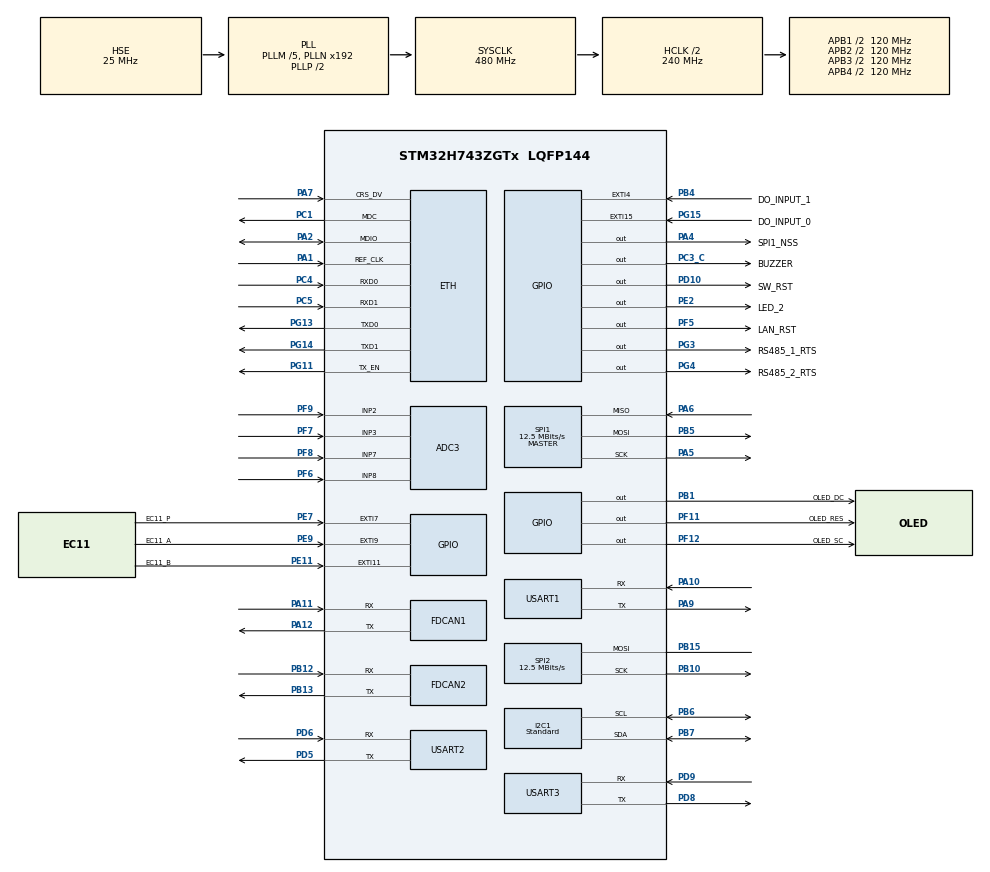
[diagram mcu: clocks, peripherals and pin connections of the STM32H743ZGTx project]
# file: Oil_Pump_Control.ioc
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ADC3.Channel-0\#ChannelRegularConversion=ADC_CHANNEL_8
ADC3.Channel-1\#ChannelRegularConversion=ADC_CHANNEL_3
ADC3.Channel-2\#ChannelRegularConversion=ADC_CHANNEL_7
ADC3.Channel-3\#ChannelRegularConversion=ADC_CHANNEL_2
ADC3.ClockPrescaler=ADC_CLOCK_ASYNC_DIV2
ADC3.ContinuousConvMode=ENABLE
ADC3.ConversionDataManagement=ADC_CONVERSIONDATA_DMA_CIRCULAR
ADC3.NbrOfConversion=4
ADC3.NbrOfConversionFlag=1
ADC3.OffsetNumber-0\#ChannelRegularConversion=ADC_OFFSET_NONE
ADC3.OffsetNumber-1\#ChannelRegularConversion=ADC_OFFSET_NONE
ADC3.OffsetNumber-2\#ChannelRegularConversion=ADC_OFFSET_NONE
ADC3.OffsetNumber-3\#ChannelRegularConversion=ADC_OFFSET_NONE
ADC3.OffsetSignedSaturation-0\#ChannelRegularConversion=DISABLE
ADC3.OffsetSignedSaturation-1\#ChannelRegularConversion=DISABLE
ADC3.OffsetSignedSaturation-2\#ChannelRegularConversion=DISABLE
ADC3.OffsetSignedSaturation-3\#ChannelRegularConversion=DISABLE
ADC3.Rank-0\#ChannelRegularConversion=1
ADC3.Rank-1\#ChannelRegularConversion=2
ADC3.Rank-2\#ChannelRegularConversion=3
ADC3.Rank-3\#ChannelRegularConversion=4
ADC3.SamplingTime-0\#ChannelRegularConversion=ADC_SAMPLETIME_32CYCLES_5
ADC3.SamplingTime-1\#ChannelRegularConversion=ADC_SAMPLETIME_32CYCLES_5
ADC3.SamplingTime-2\#ChannelRegularConversion=ADC_SAMPLETIME_32CYCLES_5
ADC3.SamplingTime-3\#ChannelRegularConversion=ADC_SAMPLETIME_32CYCLES_5
Bdma.ADC3.0.Direction=DMA_PERIPH_TO_MEMORY
Bdma.ADC3.0.EventEnable=DISABLE
Bdma.ADC3.0.Instance=BDMA_Channel0
Bdma.ADC3.0.MemDataAlignment=DMA_MDATAALIGN_HALFWORD
Bdma.ADC3.0.MemInc=DMA_MINC_ENABLE
Bdma.ADC3.0.Mode=DMA_CIRCULAR
Bdma.ADC3.0.PeriphDataAlignment=DMA_PDATAALIGN_HALFWORD
Bdma.ADC3.0.PeriphInc=DMA_PINC_DISABLE
Bdma.ADC3.0.Polarity=HAL_DMAMUX_REQ_GEN_RISING
Bdma.ADC3.0.Priority=DMA_PRIORITY_LOW
Bdma.ADC3.0.RequestNumber=1
Bdma.ADC3.0.SignalID=NONE
Bdma.ADC3.0.SyncEnable=DISABLE
Bdma.ADC3.0.SyncPolarity=HAL_DMAMUX_SYNC_NO_EVENT
Bdma.ADC3.0.SyncRequestNumber=1
Bdma.ADC3.0.SyncSignalID=NONE
Bdma.Request0=ADC3
Bdma.RequestsNb=1
CORTEX_M7.AccessPermission_S-Cortex_Memory_Protection_Unit_Region1_Settings_S=MPU_REGION_FULL_ACCESS
CORTEX_M7.AccessPermission_S-Cortex_Memory_Protection_Unit_Region2_Settings_S=MPU_REGION_FULL_ACCESS
CORTEX_M7.AccessPermission_S-Cortex_Memory_Protection_Unit_Region3_Settings_S=MPU_REGION_FULL_ACCESS
CORTEX_M7.AccessPermission_S-Cortex_Memory_Protection_Unit_Region4_Settings_S=MPU_REGION_FULL_ACCESS
CORTEX_M7.AccessPermission_Spec=MPU_REGION_FULL_ACCESS
CORTEX_M7.BaseAddress_S-Cortex_Memory_Protection_Unit_Region1_Settings_S=0x30000000
CORTEX_M7.BaseAddress_S-Cortex_Memory_Protection_Unit_Region2_Settings_S=0x30004000
CORTEX_M7.BaseAddress_S-Cortex_Memory_Protection_Unit_Region3_Settings_S=0x38800000
CORTEX_M7.BaseAddress_S-Cortex_Memory_Protection_Unit_Region4_Settings_S=0x38000000
CORTEX_M7.BaseAddress_Spec=0x24000000
CORTEX_M7.CPU_DCache=Enabled
CORTEX_M7.CPU_ICache=Enabled
CORTEX_M7.DisableExec_S-Cortex_Memory_Protection_Unit_Region1_Settings_S=MPU_INSTRUCTION_ACCESS_DISABLE
CORTEX_M7.DisableExec_S-Cortex_Memory_Protection_Unit_Region2_Settings_S=MPU_INSTRUCTION_ACCESS_ENABLE
CORTEX_M7.DisableExec_Spec=MPU_INSTRUCTION_ACCESS_ENABLE
CORTEX_M7.Enable_S-Cortex_Memory_Protection_Unit_Region1_Settings_S=MPU_REGION_ENABLE
CORTEX_M7.Enable_S-Cortex_Memory_Protection_Unit_Region2_Settings_S=MPU_REGION_ENABLE
CORTEX_M7.Enable_S-Cortex_Memory_Protection_Unit_Region3_Settings_S=MPU_REGION_ENABLE
CORTEX_M7.Enable_S-Cortex_Memory_Protection_Unit_Region4_Settings_S=MPU_REGION_ENABLE
CORTEX_M7.Enable_S-Cortex_Memory_Protection_Unit_Region5_Settings_S=__NULL
CORTEX_M7.IsBufferable_S-Cortex_Memory_Protection_Unit_Region1_Settings_S=MPU_ACCESS_BUFFERABLE
CORTEX_M7.IsBufferable_S-Cortex_Memory_Protection_Unit_Region2_Settings_S=MPU_ACCESS_NOT_BUFFERABLE
CORTEX_M7.IsBufferable_S-Cortex_Memory_Protection_Unit_Region4_Settings_S=MPU_ACCESS_NOT_BUFFERABLE
CORTEX_M7.IsBufferable_Spec=MPU_ACCESS_NOT_BUFFERABLE
CORTEX_M7.IsCacheable_S-Cortex_Memory_Protection_Unit_Region2_Settings_S=MPU_ACCESS_CACHEABLE
CORTEX_M7.IsCacheable_S-Cortex_Memory_Protection_Unit_Region4_Settings_S=MPU_ACCESS_CACHEABLE
CORTEX_M7.IsCacheable_Spec=MPU_ACCESS_CACHEABLE
CORTEX_M7.IsShareable_S-Cortex_Memory_Protection_Unit_Region1_Settings_S=MPU_ACCESS_SHAREABLE
CORTEX_M7.IsShareable_S-Cortex_Memory_Protection_Unit_Region2_Settings_S=MPU_ACCESS_NOT_SHAREABLE
CORTEX_M7.IsShareable_S-Cortex_Memory_Protection_Unit_Region4_Settings_S=MPU_ACCESS_SHAREABLE
CORTEX_M7.IsShareable_Spec=MPU_ACCESS_NOT_SHAREABLE
CORTEX_M7.Size_S-Cortex_Memory_Protection_Unit_Region1_Settings_S=MPU_REGION_SIZE_256B
CORTEX_M7.Size_S-Cortex_Memory_Protection_Unit_Region2_Settings_S=MPU_REGION_SIZE_64KB
CORTEX_M7.Size_S-Cortex_Memory_Protection_Unit_Region3_Settings_S=MPU_REGION_SIZE_4KB
CORTEX_M7.Size_S-Cortex_Memory_Protection_Unit_Region4_Settings_S=MPU_REGION_SIZE_64KB
CORTEX_M7.Size_Spec=MPU_REGION_SIZE_512KB
CORTEX_M7.SubRegionDisable_Spec=0x00
CORTEX_M7.TypeExtField_S-Cortex_Memory_Protection_Unit_Region2_Settings_S=MPU_TEX_LEVEL1
CORTEX_M7.default_mode_Activation=1
Dma.I2C1_TX.0.Direction=DMA_MEMORY_TO_PERIPH
Dma.I2C1_TX.0.EventEnable=DISABLE
Dma.I2C1_TX.0.FIFOMode=DMA_FIFOMODE_DISABLE
Dma.I2C1_TX.0.Instance=DMA1_Stream3
Dma.I2C1_TX.0.MemDataAlignment=DMA_MDATAALIGN_BYTE
Dma.I2C1_TX.0.MemInc=DMA_MINC_ENABLE
Dma.I2C1_TX.0.Mode=DMA_NORMAL
Dma.I2C1_TX.0.PeriphDataAlignment=DMA_PDATAALIGN_BYTE
Dma.I2C1_TX.0.PeriphInc=DMA_PINC_DISABLE
Dma.I2C1_TX.0.Polarity=HAL_DMAMUX_REQ_GEN_RISING
Dma.I2C1_TX.0.Priority=DMA_PRIORITY_LOW
Dma.I2C1_TX.0.RequestNumber=1
Dma.I2C1_TX.0.SignalID=NONE
Dma.I2C1_TX.0.SyncEnable=DISABLE
Dma.I2C1_TX.0.SyncPolarity=HAL_DMAMUX_SYNC_NO_EVENT
Dma.I2C1_TX.0.SyncRequestNumber=1
Dma.I2C1_TX.0.SyncSignalID=NONE
Dma.Request0=I2C1_TX
Dma.Request1=USART2_RX
Dma.Request2=USART2_TX
Dma.Request3=USART1_RX
Dma.Request4=USART1_TX
Dma.Request5=USART3_RX
Dma.Request6=USART3_TX
Dma.USART1_RX.3.Direction=DMA_PERIPH_TO_MEMORY
Dma.USART1_RX.3.EventEnable=DISABLE
Dma.USART1_RX.3.FIFOMode=DMA_FIFOMODE_DISABLE
Dma.USART1_RX.3.Instance=DMA1_Stream0
Dma.USART1_RX.3.MemDataAlignment=DMA_MDATAALIGN_BYTE
Dma.USART1_RX.3.MemInc=DMA_MINC_ENABLE
Dma.USART1_RX.3.Mode=DMA_NORMAL
Dma.USART1_RX.3.PeriphDataAlignment=DMA_PDATAALIGN_BYTE
Dma.USART1_RX.3.PeriphInc=DMA_PINC_DISABLE
Dma.USART1_RX.3.Polarity=HAL_DMAMUX_REQ_GEN_RISING
Dma.USART1_RX.3.Priority=DMA_PRIORITY_HIGH
Dma.USART1_RX.3.RequestNumber=1
Dma.USART1_RX.3.SignalID=NONE
Dma.USART1_RX.3.SyncEnable=DISABLE
Dma.USART1_RX.3.SyncPolarity=HAL_DMAMUX_SYNC_NO_EVENT
Dma.USART1_RX.3.SyncRequestNumber=1
Dma.USART1_RX.3.SyncSignalID=NONE
Dma.USART1_TX.4.Direction=DMA_MEMORY_TO_PERIPH
Dma.USART1_TX.4.EventEnable=DISABLE
Dma.USART1_TX.4.FIFOMode=DMA_FIFOMODE_DISABLE
Dma.USART1_TX.4.Instance=DMA1_Stream1
Dma.USART1_TX.4.MemDataAlignment=DMA_MDATAALIGN_BYTE
Dma.USART1_TX.4.MemInc=DMA_MINC_ENABLE
Dma.USART1_TX.4.Mode=DMA_NORMAL
Dma.USART1_TX.4.PeriphDataAlignment=DMA_PDATAALIGN_BYTE
Dma.USART1_TX.4.PeriphInc=DMA_PINC_DISABLE
Dma.USART1_TX.4.Polarity=HAL_DMAMUX_REQ_GEN_RISING
Dma.USART1_TX.4.Priority=DMA_PRIORITY_HIGH
Dma.USART1_TX.4.RequestNumber=1
Dma.USART1_TX.4.SignalID=NONE
Dma.USART1_TX.4.SyncEnable=DISABLE
Dma.USART1_TX.4.SyncPolarity=HAL_DMAMUX_SYNC_NO_EVENT
Dma.USART1_TX.4.SyncRequestNumber=1
Dma.USART1_TX.4.SyncSignalID=NONE
Dma.USART2_RX.1.Direction=DMA_PERIPH_TO_MEMORY
Dma.USART2_RX.1.EventEnable=DISABLE
Dma.USART2_RX.1.FIFOMode=DMA_FIFOMODE_DISABLE
Dma.USART2_RX.1.Instance=DMA1_Stream4
Dma.USART2_RX.1.MemDataAlignment=DMA_MDATAALIGN_BYTE
Dma.USART2_RX.1.MemInc=DMA_MINC_ENABLE
Dma.USART2_RX.1.Mode=DMA_NORMAL
Dma.USART2_RX.1.PeriphDataAlignment=DMA_PDATAALIGN_BYTE
Dma.USART2_RX.1.PeriphInc=DMA_PINC_DISABLE
Dma.USART2_RX.1.Polarity=HAL_DMAMUX_REQ_GEN_RISING
Dma.USART2_RX.1.Priority=DMA_PRIORITY_LOW
Dma.USART2_RX.1.RequestNumber=1
Dma.USART2_RX.1.SignalID=NONE
Dma.USART2_RX.1.SyncEnable=DISABLE
Dma.USART2_RX.1.SyncPolarity=HAL_DMAMUX_SYNC_NO_EVENT
Dma.USART2_RX.1.SyncRequestNumber=1
Dma.USART2_RX.1.SyncSignalID=NONE
Dma.USART2_TX.2.Direction=DMA_MEMORY_TO_PERIPH
Dma.USART2_TX.2.EventEnable=DISABLE
Dma.USART2_TX.2.FIFOMode=DMA_FIFOMODE_DISABLE
Dma.USART2_TX.2.Instance=DMA1_Stream5
Dma.USART2_TX.2.MemDataAlignment=DMA_MDATAALIGN_BYTE
Dma.USART2_TX.2.MemInc=DMA_MINC_ENABLE
Dma.USART2_TX.2.Mode=DMA_NORMAL
Dma.USART2_TX.2.PeriphDataAlignment=DMA_PDATAALIGN_BYTE
Dma.USART2_TX.2.PeriphInc=DMA_PINC_DISABLE
Dma.USART2_TX.2.Polarity=HAL_DMAMUX_REQ_GEN_RISING
Dma.USART2_TX.2.Priority=DMA_PRIORITY_LOW
Dma.USART2_TX.2.RequestNumber=1
Dma.USART2_TX.2.SignalID=NONE
Dma.USART2_TX.2.SyncEnable=DISABLE
Dma.USART2_TX.2.SyncPolarity=HAL_DMAMUX_SYNC_NO_EVENT
Dma.USART2_TX.2.SyncRequestNumber=1
Dma.USART2_TX.2.SyncSignalID=NONE
Dma.USART3_RX.5.Direction=DMA_PERIPH_TO_MEMORY
Dma.USART3_RX.5.EventEnable=DISABLE
Dma.USART3_RX.5.FIFOMode=DMA_FIFOMODE_DISABLE
Dma.USART3_RX.5.Instance=DMA1_Stream2
Dma.USART3_RX.5.MemDataAlignment=DMA_MDATAALIGN_BYTE
Dma.USART3_RX.5.MemInc=DMA_MINC_ENABLE
Dma.USART3_RX.5.Mode=DMA_NORMAL
Dma.USART3_RX.5.PeriphDataAlignment=DMA_PDATAALIGN_BYTE
Dma.USART3_RX.5.PeriphInc=DMA_PINC_DISABLE
Dma.USART3_RX.5.Polarity=HAL_DMAMUX_REQ_GEN_RISING
Dma.USART3_RX.5.Priority=DMA_PRIORITY_LOW
Dma.USART3_RX.5.RequestNumber=1
Dma.USART3_RX.5.SignalID=NONE
Dma.USART3_RX.5.SyncEnable=DISABLE
Dma.USART3_RX.5.SyncPolarity=HAL_DMAMUX_SYNC_NO_EVENT
Dma.USART3_RX.5.SyncRequestNumber=1
Dma.USART3_RX.5.SyncSignalID=NONE
Dma.USART3_TX.6.Direction=DMA_MEMORY_TO_PERIPH
Dma.USART3_TX.6.EventEnable=DISABLE
Dma.USART3_TX.6.FIFOMode=DMA_FIFOMODE_DISABLE
Dma.USART3_TX.6.Instance=DMA1_Stream6
Dma.USART3_TX.6.MemDataAlignment=DMA_MDATAALIGN_BYTE
Dma.USART3_TX.6.MemInc=DMA_MINC_ENABLE
Dma.USART3_TX.6.Mode=DMA_NORMAL
Dma.USART3_TX.6.PeriphDataAlignment=DMA_PDATAALIGN_BYTE
Dma.USART3_TX.6.PeriphInc=DMA_PINC_DISABLE
Dma.USART3_TX.6.Polarity=HAL_DMAMUX_REQ_GEN_RISING
Dma.USART3_TX.6.Priority=DMA_PRIORITY_LOW
Dma.USART3_TX.6.RequestNumber=1
Dma.USART3_TX.6.SignalID=NONE
Dma.USART3_TX.6.SyncEnable=DISABLE
Dma.USART3_TX.6.SyncPolarity=HAL_DMAMUX_SYNC_NO_EVENT
Dma.USART3_TX.6.SyncRequestNumber=1
Dma.USART3_TX.6.SyncSignalID=NONE
ETH.ETH_RX_DESC_CNT=4
ETH.ETH_TX_DESC_CNT=4
ETH.MediaInterface=HAL_ETH_RMII_MODE
ETH.RxBuffLen=1536
ETH.RxBufferAddress=0x30000200
ETH.RxDescAddress=0x30000000
ETH.TxDescAddress=0x30000100
FDCAN1.CalculateBaudRateNominal=500000
FDCAN1.CalculateTimeBitNominal=2000
FDCAN1.CalculateTimeQuantumNominal=50.0
FDCAN1.DataPrescaler=5
FDCAN1.DataTimeSeg1=31
FDCAN1.DataTimeSeg2=8
FDCAN1.NominalPrescaler=5
FDCAN1.NominalTimeSeg1=31
FDCAN1.NominalTimeSeg2=8
FDCAN1.RxFifo0ElmtsNbr=32
FDCAN1.StdFiltersNbr=1
FDCAN1.TxFifoQueueElmtsNbr=16
FDCAN2.CalculateBaudRateNominal=500000
FDCAN2.CalculateTimeBitNominal=2000
FDCAN2.CalculateTimeQuantumNominal=50.0
FDCAN2.DataPrescaler=5
FDCAN2.DataTimeSeg1=31
FDCAN2.DataTimeSeg2=8
FDCAN2.MessageRAMOffset=0x406
FDCAN2.NominalPrescaler=5
FDCAN2.NominalTimeSeg1=31
FDCAN2.NominalTimeSeg2=8
FDCAN2.RxFifo1ElmtsNbr=32
FDCAN2.StdFiltersNbr=1
FDCAN2.TxFifoQueueElmtsNbr=32
FREERTOS.HEAP_NUMBER=4
FREERTOS.Tasks01=defaultTask,24,4096,StartDefaultTask,Default,NULL,Dynamic,NULL,NULL
FREERTOS.configENABLE_FPU=1
FREERTOS.configMINIMAL_STACK_SIZE=1024
FREERTOS.configTIMER_QUEUE_LENGTH=20
FREERTOS.configTIMER_TASK_PRIORITY=24
FREERTOS.configTIMER_TASK_STACK_DEPTH=20480
FREERTOS.configTOTAL_HEAP_SIZE=200*1024
FREERTOS.configUSE_NEWLIB_REENTRANT=1
FREERTOS.configUSE_TICKLESS_IDLE=1
I2C1.CustomTiming=Disabled
I2C1.I2C_Coeff_DF=10
I2C1.I2C_Fall_Time=20
I2C1.I2C_Rise_Time=20
I2C1.I2C_Speed_Mode=I2C_Standard
I2C1.Timing=0x10D0E0FF
IWDG1.Prescaler=IWDG_PRESCALER_4
LWIP.BSP.number=1
LWIP.DEFAULT_THREAD_PRIO=28
LWIP.ETH_RX_BUFFER_CNT=128
LWIP.IP_ADDRESS=000.000.000.000
LWIP.LWIP_ALLOW_MEM_FREE_FROM_OTHER_CONTEXT=1
LWIP.LWIP_DHCP=0
LWIP.LWIP_NETCONN_FULLDUPLEX=1
LWIP.LWIP_RAM_HEAP_POINTER=0x30000800
LWIP.LWIP_SNTP=1
LWIP.MEMP_MEM_INIT=1
LWIP.MEMP_MEM_MALLOC=1
LWIP.MEMP_NUM_PBUF=64
LWIP.MEMP_USE_CUSTOM_POOLS=1
LWIP.MEM_LIBC_MALLOC=1
LWIP.MEM_SIZE=65535
LWIP.NETMASK_ADDRESS=000.000.000.000
LWIP.PBUF_POOL_SIZE=128
LWIP.SLIPIF_THREAD_PRIO=28
LWIP.TCPIP_THREAD_PRIO=32
LWIP.TCPIP_THREAD_STACKSIZE=4096
LWIP.TCP_SND_QUEUELEN=24
LWIP.Version=v2.1.2_Cube
LWIP0.BSP.STBoard=false
LWIP0.BSP.api=BSP_COMPONENT_DRIVER
LWIP0.BSP.component=LAN8742
LWIP0.BSP.instance=LAN8742
LWIP0.BSP.name=Driver_PHY
LWIP0.BSP.semaphore=S_LAN8742
LWIP0.BSP.solution=LAN8742
Mcu.Family=STM32H7
Mcu.Name=STM32H743ZGTx
Mcu.Package=LQFP144
NVIC.BDMA_Channel0_IRQn=true\:5\:0\:false\:false\:true\:true\:false\:true\:true
NVIC.DMA1_Stream0_IRQn=true\:5\:0\:false\:false\:true\:true\:false\:true\:true
NVIC.DMA1_Stream1_IRQn=true\:5\:0\:false\:false\:true\:true\:false\:true\:true
NVIC.DMA1_Stream2_IRQn=true\:5\:0\:false\:false\:true\:true\:false\:true\:true
NVIC.DMA1_Stream3_IRQn=true\:5\:0\:false\:false\:true\:true\:false\:true\:true
NVIC.DMA1_Stream4_IRQn=true\:5\:0\:false\:false\:true\:true\:false\:true\:true
NVIC.DMA1_Stream5_IRQn=true\:5\:0\:false\:false\:true\:true\:false\:true\:true
NVIC.DMA1_Stream6_IRQn=true\:5\:0\:false\:false\:true\:true\:false\:true\:true
NVIC.ETH_IRQn=true\:5\:0\:true\:false\:true\:true\:true\:true\:true
NVIC.EXTI15_10_IRQn=true\:5\:0\:false\:false\:true\:true\:true\:true\:true
NVIC.EXTI4_IRQn=true\:5\:0\:false\:false\:true\:true\:true\:true\:true
NVIC.EXTI9_5_IRQn=true\:5\:0\:true\:false\:true\:false\:true\:true\:true
NVIC.FDCAN1_IT0_IRQn=true\:5\:0\:false\:false\:true\:true\:true\:true\:true
NVIC.FDCAN2_IT0_IRQn=true\:5\:0\:false\:false\:true\:true\:true\:true\:true
NVIC.PriorityGroup=NVIC_PRIORITYGROUP_4
NVIC.TIM2_IRQn=true\:5\:0\:false\:false\:false\:true\:true\:true\:true
NVIC.TIM7_IRQn=true\:15\:0\:false\:false\:true\:false\:false\:true\:true
NVIC.TimeBase=TIM7_IRQn
NVIC.TimeBaseIP=TIM7
NVIC.USART1_IRQn=true\:7\:0\:true\:false\:false\:true\:true\:true\:true
NVIC.USART2_IRQn=true\:5\:0\:true\:false\:true\:true\:true\:true\:true
NVIC.USART3_IRQn=true\:5\:0\:true\:false\:false\:true\:true\:true\:true
PA1.GPIO_Mode=GPIO_MODE_AF_PP
PA1.GPIO_PuPd=GPIO_NOPULL
PA1.GPIO_Speed=GPIO_SPEED_FREQ_VERY_HIGH
PA1.Mode=RMII
PA1.Signal=ETH_REF_CLK
PA10.GPIO_PuPd=GPIO_PULLUP
PA10.GPIO_Speed=GPIO_SPEED_FREQ_HIGH
PA10.Mode=Asynchronous
PA10.Signal=USART1_RX
PA11.Mode=FDCAN_Activate
PA11.Signal=FDCAN1_RX
PA12.Mode=FDCAN_Activate
PA12.Signal=FDCAN1_TX
PA13\ (JTMS/SWDIO).Mode=Serial_Wire
PA13\ (JTMS/SWDIO).Signal=DEBUG_JTMS-SWDIO
PA14\ (JTCK/SWCLK).Mode=Serial_Wire
PA14\ (JTCK/SWCLK).Signal=DEBUG_JTCK-SWCLK
PA2.GPIO_Mode=GPIO_MODE_AF_PP
PA2.GPIO_PuPd=GPIO_NOPULL
PA2.GPIO_Speed=GPIO_SPEED_FREQ_VERY_HIGH
PA2.Mode=RMII
PA2.Signal=ETH_MDIO
PA4.GPIO_Label=SPI1_NSS
PA4.GPIO_Speed=GPIO_SPEED_FREQ_MEDIUM
PA4.Signal=GPIO_Output
PA5.GPIO_Speed=GPIO_SPEED_FREQ_VERY_HIGH
PA5.Mode=Full_Duplex_Master
PA5.Signal=SPI1_SCK
PA6.GPIO_Speed=GPIO_SPEED_FREQ_VERY_HIGH
PA6.Mode=Full_Duplex_Master
PA6.Signal=SPI1_MISO
PA7.GPIO_Mode=GPIO_MODE_AF_PP
PA7.GPIO_PuPd=GPIO_NOPULL
PA7.GPIO_Speed=GPIO_SPEED_FREQ_VERY_HIGH
PA7.Mode=RMII
PA7.Signal=ETH_CRS_DV
PA9.GPIO_PuPd=GPIO_PULLUP
PA9.GPIO_Speed=GPIO_SPEED_FREQ_HIGH
PA9.Mode=Asynchronous
PA9.Signal=USART1_TX
PB1.GPIO_Label=OLED_DC
PB1.Signal=GPIO_Output
PB10.Mode=Simplex_Bidirectional_Master
PB10.Signal=SPI2_SCK
PB12.Mode=FDCAN_Activate
PB12.Signal=FDCAN2_RX
PB13.Mode=FDCAN_Activate
PB13.Signal=FDCAN2_TX
PB15.Mode=Simplex_Bidirectional_Master
PB15.Signal=SPI2_MOSI
PB4\ (NJTRST).GPIO_Label=DO_INPUT_1
PB4\ (NJTRST).Signal=GPXTI4
PB5.GPIO_Speed=GPIO_SPEED_FREQ_VERY_HIGH
PB5.Mode=Full_Duplex_Master
PB5.Signal=SPI1_MOSI
PB6.GPIO_Pu=GPIO_PULLUP
PB6.GPIO_Speed=GPIO_SPEED_FREQ_HIGH
PB6.Mode=I2C
PB6.Signal=I2C1_SCL
PB7.GPIO_Pu=GPIO_PULLUP
PB7.GPIO_Speed=GPIO_SPEED_FREQ_HIGH
PB7.Mode=I2C
PB7.Signal=I2C1_SDA
PC1.GPIO_Mode=GPIO_MODE_AF_PP
PC1.GPIO_PuPd=GPIO_NOPULL
PC1.GPIO_Speed=GPIO_SPEED_FREQ_VERY_HIGH
PC1.Mode=RMII
PC1.Signal=ETH_MDC
PC14-OSC32_IN\ (OSC32_IN).Mode=LSE-External-Oscillator
PC14-OSC32_IN\ (OSC32_IN).Signal=RCC_OSC32_IN
PC15-OSC32_OUT\ (OSC32_OUT).Mode=LSE-External-Oscillator
PC15-OSC32_OUT\ (OSC32_OUT).Signal=RCC_OSC32_OUT
PC3_C.GPIO_Label=BUZZER
PC3_C.GPIO_Speed=GPIO_SPEED_FREQ_HIGH
PC3_C.Signal=GPIO_Output
PC4.GPIO_Mode=GPIO_MODE_AF_PP
PC4.GPIO_PuPd=GPIO_NOPULL
PC4.GPIO_Speed=GPIO_SPEED_FREQ_VERY_HIGH
PC4.Mode=RMII
PC4.Signal=ETH_RXD0
PC5.GPIO_Mode=GPIO_MODE_AF_PP
PC5.GPIO_PuPd=GPIO_NOPULL
PC5.GPIO_Speed=GPIO_SPEED_FREQ_VERY_HIGH
PC5.Mode=RMII
PC5.Signal=ETH_RXD1
PD10.GPIO_Label=SW_RST
PD10.Signal=GPIO_Output
PD5.GPIO_PuPd=GPIO_PULLUP
PD5.GPIO_Speed=GPIO_SPEED_FREQ_HIGH
PD5.Mode=Asynchronous
PD5.Signal=USART2_TX
PD6.GPIO_PuPd=GPIO_PULLUP
PD6.GPIO_Speed=GPIO_SPEED_FREQ_HIGH
PD6.Mode=Asynchronous
PD6.Signal=USART2_RX
PD8.GPIO_PuPd=GPIO_PULLUP
PD8.GPIO_Speed=GPIO_SPEED_FREQ_HIGH
PD8.Mode=Asynchronous
PD8.Signal=USART3_TX
PD9.GPIO_PuPd=GPIO_PULLUP
PD9.GPIO_Speed=GPIO_SPEED_FREQ_HIGH
PD9.Mode=Asynchronous
PD9.Signal=USART3_RX
PE11.GPIO_Label=EC11_B
PE11.Signal=GPXTI11
PE2.GPIO_Label=LED_2
PE2.GPIO_PuPd=GPIO_PULLUP
PE2.Signal=GPIO_Output
PE7.GPIO_Label=EC11_P
PE7.GPIO_ModeDefaultEXTI=GPIO_MODE_IT_RISING_FALLING
PE7.Signal=GPXTI7
PE9.GPIO_Label=EC11_A
PE9.Signal=GPXTI9
PF11.GPIO_Label=OLED_RES
PF11.Signal=GPIO_Output
PF12.GPIO_Label=OLED_SC
PF12.Signal=GPIO_Output
PF5.GPIO_Label=LAN_RST
PF5.GPIO_PuPd=GPIO_NOPULL
PF5.PinState=GPIO_PIN_SET
PF5.Signal=GPIO_Output
PF6.Mode=IN8-Single-Ended
PF6.Signal=ADC3_INP8
PF7.Mode=IN3-Single-Ended
PF7.Signal=ADC3_INP3
PF8.Mode=IN7-Single-Ended
PF8.Signal=ADC3_INP7
PF9.Mode=IN2-Single-Ended
PF9.Signal=ADC3_INP2
PG11.GPIO_Mode=GPIO_MODE_AF_PP
PG11.GPIO_PuPd=GPIO_NOPULL
PG11.GPIO_Speed=GPIO_SPEED_FREQ_VERY_HIGH
PG11.Mode=RMII
PG11.Signal=ETH_TX_EN
PG13.GPIO_Mode=GPIO_MODE_AF_PP
PG13.GPIO_PuPd=GPIO_NOPULL
PG13.GPIO_Speed=GPIO_SPEED_FREQ_VERY_HIGH
PG13.Mode=RMII
PG13.Signal=ETH_TXD0
PG14.GPIO_Mode=GPIO_MODE_AF_PP
PG14.GPIO_PuPd=GPIO_NOPULL
PG14.GPIO_Speed=GPIO_SPEED_FREQ_VERY_HIGH
PG14.Mode=RMII
PG14.Signal=ETH_TXD1
PG15.GPIO_Label=DO_INPUT_0
PG15.GPIO_PuPd=GPIO_PULLDOWN
PG15.Signal=GPXTI15
PG3.GPIO_Label=RS485_1_RTS
PG3.GPIO_ModeDefaultOutputPP=GPIO_MODE_OUTPUT_PP
PG3.GPIO_PuPd=GPIO_NOPULL
PG3.GPIO_Speed=GPIO_SPEED_FREQ_MEDIUM
PG3.PinState=GPIO_PIN_RESET
PG3.Signal=GPIO_Output
PG4.GPIO_Label=RS485_2_RTS
PG4.GPIO_PuPd=GPIO_NOPULL
PG4.GPIO_Speed=GPIO_SPEED_FREQ_MEDIUM
PG4.PinState=GPIO_PIN_RESET
PG4.Signal=GPIO_Output
PH0-OSC_IN\ (PH0).Mode=HSE-External-Oscillator
PH0-OSC_IN\ (PH0).Signal=RCC_OSC_IN
PH1-OSC_OUT\ (PH1).Mode=HSE-External-Oscillator
PH1-OSC_OUT\ (PH1).Signal=RCC_OSC_OUT
ProjectManager.HeapSize=0x1200
ProjectManager.StackSize=0x1000
ProjectManager.TargetToolchain=CMake
RCC.ADCFreq_Value=100000000
RCC.APB1Freq_Value=120000000
RCC.APB2Freq_Value=120000000
RCC.APB3Freq_Value=120000000
RCC.APB4Freq_Value=120000000
RCC.CortexFreq_Value=480000000
RCC.D1PPRE=RCC_APB3_DIV2
RCC.D2PPRE1=RCC_APB1_DIV2
RCC.D2PPRE2=RCC_APB2_DIV2
RCC.D3PPRE=RCC_APB4_DIV2
RCC.DIVM1=5
RCC.DIVM2=5
RCC.DIVM3=5
RCC.DIVN1=192
RCC.DIVN2=160
RCC.DIVN3=160
RCC.DIVP2=8
RCC.DIVP3=4
RCC.DIVQ2=8
RCC.DIVR3=8
RCC.FDCANCLockSelection=RCC_FDCANCLKSOURCE_PLL2
RCC.HCLKFreq_Value=240000000
RCC.HPRE=RCC_HCLK_DIV2
RCC.I2C123CLockSelection=RCC_I2C123CLKSOURCE_PLL3
RCC.PLLSourceVirtual=RCC_PLLSOURCE_HSE
RCC.RTCClockSelection=RCC_RTCCLKSOURCE_LSE
RCC.SPI123CLockSelection=RCC_SPI123CLKSOURCE_PLL3
RCC.SYSCLKFreq_VALUE=480000000
RCC.SYSCLKSource=RCC_SYSCLKSOURCE_PLLCLK
RCC.USBFreq_Value=480000000
RTC.Format=RTC_FORMAT_BCD
RTC.Year=25
SPI1.BaudRatePrescaler=SPI_BAUDRATEPRESCALER_16
SPI1.CLKPhase=SPI_PHASE_1EDGE
SPI1.CLKPolarity=SPI_POLARITY_LOW
SPI1.CalculateBaudRate=12.5 MBits/s
SPI1.DataSize=SPI_DATASIZE_8BIT
SPI1.Direction=SPI_DIRECTION_2LINES
SPI1.FirstBit=SPI_FIRSTBIT_MSB
SPI1.Mode=SPI_MODE_MASTER
SPI1.VirtualType=VM_MASTER
SPI2.BaudRatePrescaler=SPI_BAUDRATEPRESCALER_16
SPI2.CLKPhase=SPI_PHASE_2EDGE
SPI2.CLKPolarity=SPI_POLARITY_HIGH
SPI2.CalculateBaudRate=12.5 MBits/s
SPI2.DataSize=SPI_DATASIZE_8BIT
SPI2.Direction=SPI_DIRECTION_1LINE
SPI2.Mode=SPI_MODE_MASTER
SPI2.VirtualType=VM_MASTER
TIM2.AutoReloadPreload=TIM_AUTORELOAD_PRELOAD_DISABLE
TIM2.Prescaler=239
USART1.VirtualMode-Asynchronous=VM_ASYNC
USART2.VirtualMode-Asynchronous=VM_ASYNC
USART3.VirtualMode-Asynchronous=VM_ASYNC
VP_FREERTOS_VS_CMSIS_V2.Mode=CMSIS_V2
VP_IWDG1_VS_IWDG.Mode=IWDG_Activate
VP_LWIP_VS_Enabled.Mode=Enabled
VP_MEMORYMAP_VS_MEMORYMAP.Mode=CurAppReg
VP_RTC_VS_RTC_Activate.Mode=RTC_Enabled
VP_RTC_VS_RTC_Calendar.Mode=RTC_Calendar
VP_SYS_VS_tim7.Mode=TIM7
VP_TIM2_VS_ClockSourceINT.Mode=Internal
board=custom

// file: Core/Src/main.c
/* USER CODE BEGIN Header */
/**
  ******************************************************************************
  * @file           : main.c
  * @brief          : Main program body
  ******************************************************************************
  * @attention
  *
  * Copyright (c) 2026 STMicroelectronics.
  * All rights reserved.
  *
  * This software is licensed under terms that can be found in the LICENSE file
  * in the root directory of this software component.
  * If no LICENSE file comes with this software, it is provided AS-IS.
  *
  ******************************************************************************
  */
/* USER CODE END Header */
#include "main.h"
#include "cmsis_os.h"
#include "adc.h"
#include "bdma.h"
#include "dma.h"
#include "fdcan.h"
#include "i2c.h"
#include "iwdg.h"
#include "lwip.h"
#include "rtc.h"
#include "spi.h"
#include "tim.h"
#include "usart.h"
#include "gpio.h"

/* USER CODE BEGIN Includes */
#include "cJSON.h"
#include "ADC_collect.h"
#include "main_logic.h"
/* USER CODE END Includes */

void SystemClock_Config(void);
void PeriphCommonClock_Config(void);
static void MPU_Config(void);
void MX_FREERTOS_Init(void);

int main(void)
{

  /* MPU Configuration--------------------------------------------------------*/
  MPU_Config();

  /* Enable the CPU Cache */

  /* Enable I-Cache---------------------------------------------------------*/
  SCB_EnableICache();

  /* Enable D-Cache---------------------------------------------------------*/
  SCB_EnableDCache();

  /* MCU Configuration--------------------------------------------------------*/

  /* Reset of all peripherals, Initializes the Flash interface and the Systick. */
  HAL_Init();

  /* Configure the system clock */
  SystemClock_Config();

  /* Configure the peripherals common clocks */
  PeriphCommonClock_Config();

  /* Initialize all configured peripherals */
  MX_GPIO_Init();
  MX_DMA_Init();
  MX_BDMA_Init();
  MX_FDCAN1_Init();
  MX_FDCAN2_Init();
  MX_I2C1_Init();
  MX_RTC_Init();
  MX_SPI1_Init();
  MX_USART1_UART_Init();
  MX_USART3_UART_Init();
  MX_USART2_UART_Init();
  MX_SPI2_Init();
  //MX_IWDG1_Init();
  MX_ADC3_Init();
  MX_TIM2_Init();
  /* USER CODE BEGIN 2 */
  cJSON_Init_FreeRTOS_Heap();

  SCB_CleanInvalidateDCache_by_Addr((uint32_t *)adc_raw_buf, sizeof(adc_raw_buf));
  HAL_StatusTypeDef adc_ret = HAL_ADC_Start_DMA(&hadc3, (uint32_t*)adc_raw_buf, 4);
  SET_BIT(ADC3->CFGR, ADC_CFGR_DMNGT_0 | ADC_CFGR_DMNGT_1);
  if(adc_ret == HAL_OK)
  {
      LOG_Debug("ADC3 DMA 启动成功");
  }
  else
  {
      LOG_Debug("ADC3 DMA 启动失败, ret=%d", adc_ret);
  }
  // 判断ADC是否正在持续转换
  if(READ_BIT(ADC3->CR, ADC_CR_ADSTART))
  {
      LOG_Debug("ADC3 正在转换中");
  }
  if(READ_BIT(BDMA_Channel0->CCR, BDMA_CCR_EN))
  {
      LOG_Debug("BDMA通道0已开启传输");
  }
  /* USER CODE END 2 */

  /* Init scheduler */
  osKernelInitialize();  /* Call init function for freertos objects (in cmsis_os2.c) */
  MX_FREERTOS_Init();

  /* Start scheduler */
  osKernelStart();

  /* We should never get here as control is now taken by the scheduler */

  /* Infinite loop */
  while (1)
  {

  }
}

void SystemClock_Config(void)
{
  RCC_OscInitTypeDef RCC_OscInitStruct = {0};
  RCC_ClkInitTypeDef RCC_ClkInitStruct = {0};

  /** Supply configuration update enable
  */
  HAL_PWREx_ConfigSupply(PWR_LDO_SUPPLY);

  /** Configure the main internal regulator output voltage
  */
  __HAL_PWR_VOLTAGESCALING_CONFIG(PWR_REGULATOR_VOLTAGE_SCALE0);

  while(!__HAL_PWR_GET_FLAG(PWR_FLAG_VOSRDY)) {}

  /** Configure LSE Drive Capability
  */
  HAL_PWR_EnableBkUpAccess();
  __HAL_RCC_LSEDRIVE_CONFIG(RCC_LSEDRIVE_LOW);

  /** Initializes the RCC Oscillators according to the specified parameters
  * in the RCC_OscInitTypeDef structure.
  */
  RCC_OscInitStruct.OscillatorType = RCC_OSCILLATORTYPE_LSI|RCC_OSCILLATORTYPE_HSE
                              |RCC_OSCILLATORTYPE_LSE;
  RCC_OscInitStruct.HSEState = RCC_HSE_ON;
  RCC_OscInitStruct.LSEState = RCC_LSE_ON;
  RCC_OscInitStruct.LSIState = RCC_LSI_ON;
  RCC_OscInitStruct.PLL.PLLState = RCC_PLL_ON;
  RCC_OscInitStruct.PLL.PLLSource = RCC_PLLSOURCE_HSE;
  RCC_OscInitStruct.PLL.PLLM = 5;
  RCC_OscInitStruct.PLL.PLLN = 192;
  RCC_OscInitStruct.PLL.PLLP = 2;
  RCC_OscInitStruct.PLL.PLLQ = 2;
  RCC_OscInitStruct.PLL.PLLR = 2;
  RCC_OscInitStruct.PLL.PLLRGE = RCC_PLL1VCIRANGE_2;
  RCC_OscInitStruct.PLL.PLLVCOSEL = RCC_PLL1VCOWIDE;
  RCC_OscInitStruct.PLL.PLLFRACN = 0;
  if (HAL_RCC_OscConfig(&RCC_OscInitStruct) != HAL_OK)
  {
    Error_Handler();
  }

  /** Initializes the CPU, AHB and APB buses clocks
  */
  RCC_ClkInitStruct.ClockType = RCC_CLOCKTYPE_HCLK|RCC_CLOCKTYPE_SYSCLK
                              |RCC_CLOCKTYPE_PCLK1|RCC_CLOCKTYPE_PCLK2
                              |RCC_CLOCKTYPE_D3PCLK1|RCC_CLOCKTYPE_D1PCLK1;
  RCC_ClkInitStruct.SYSCLKSource = RCC_SYSCLKSOURCE_PLLCLK;
  RCC_ClkInitStruct.SYSCLKDivider = RCC_SYSCLK_DIV1;
  RCC_ClkInitStruct.AHBCLKDivider = RCC_HCLK_DIV2;
  RCC_ClkInitStruct.APB3CLKDivider = RCC_APB3_DIV2;
  RCC_ClkInitStruct.APB1CLKDivider = RCC_APB1_DIV2;
  RCC_ClkInitStruct.APB2CLKDivider = RCC_APB2_DIV2;
  RCC_ClkInitStruct.APB4CLKDivider = RCC_APB4_DIV2;

  if (HAL_RCC_ClockConfig(&RCC_ClkInitStruct, FLASH_LATENCY_4) != HAL_OK)
  {
    Error_Handler();
  }
}

void PeriphCommonClock_Config(void)
{
  RCC_PeriphCLKInitTypeDef PeriphClkInitStruct = {0};

  /** Initializes the peripherals clock
  */
  PeriphClkInitStruct.PeriphClockSelection = RCC_PERIPHCLK_ADC|RCC_PERIPHCLK_I2C1
                              |RCC_PERIPHCLK_SPI2|RCC_PERIPHCLK_SPI1
                              |RCC_PERIPHCLK_FDCAN;
  PeriphClkInitStruct.PLL2.PLL2M = 5;
  PeriphClkInitStruct.PLL2.PLL2N = 160;
  PeriphClkInitStruct.PLL2.PLL2P = 8;
  PeriphClkInitStruct.PLL2.PLL2Q = 8;
  PeriphClkInitStruct.PLL2.PLL2R = 2;
  PeriphClkInitStruct.PLL2.PLL2RGE = RCC_PLL2VCIRANGE_2;
  PeriphClkInitStruct.PLL2.PLL2VCOSEL = RCC_PLL2VCOWIDE;
  PeriphClkInitStruct.PLL2.PLL2FRACN = 0;
  PeriphClkInitStruct.PLL3.PLL3M = 5;
  PeriphClkInitStruct.PLL3.PLL3N = 160;
  PeriphClkInitStruct.PLL3.PLL3P = 4;
  PeriphClkInitStruct.PLL3.PLL3Q = 2;
  PeriphClkInitStruct.PLL3.PLL3R = 8;
  PeriphClkInitStruct.PLL3.PLL3RGE = RCC_PLL3VCIRANGE_2;
  PeriphClkInitStruct.PLL3.PLL3VCOSEL = RCC_PLL3VCOWIDE;
  PeriphClkInitStruct.PLL3.PLL3FRACN = 0;
  PeriphClkInitStruct.Spi123ClockSelection = RCC_SPI123CLKSOURCE_PLL3;
  PeriphClkInitStruct.FdcanClockSelection = RCC_FDCANCLKSOURCE_PLL2;
  PeriphClkInitStruct.I2c123ClockSelection = RCC_I2C123CLKSOURCE_PLL3;
  PeriphClkInitStruct.AdcClockSelection = RCC_ADCCLKSOURCE_PLL2;
  if (HAL_RCCEx_PeriphCLKConfig(&PeriphClkInitStruct) != HAL_OK)
  {
    Error_Handler();
  }
}

 /* MPU Configuration */

void MPU_Config(void)
{
  MPU_Region_InitTypeDef MPU_InitStruct = {0};
  HAL_MPU_Disable();

  // Region0 RAM_D1 0x24000000 AXI堆/全局变量
  memset(&MPU_InitStruct, 0, sizeof(MPU_Region_InitTypeDef));
  MPU_InitStruct.Enable           = MPU_REGION_ENABLE;
  MPU_InitStruct.Number           = MPU_REGION_NUMBER0;
  MPU_InitStruct.BaseAddress      = 0x24000000;
  MPU_InitStruct.Size             = MPU_REGION_SIZE_512KB;
  MPU_InitStruct.SubRegionDisable = 0x00;
  MPU_InitStruct.TypeExtField     = MPU_TEX_LEVEL0;
  MPU_InitStruct.AccessPermission = MPU_REGION_FULL_ACCESS;
  MPU_InitStruct.DisableExec      = MPU_INSTRUCTION_ACCESS_DISABLE;
  MPU_InitStruct.IsShareable      = MPU_ACCESS_NOT_SHAREABLE;
  MPU_InitStruct.IsCacheable      = MPU_ACCESS_CACHEABLE;
  MPU_InitStruct.IsBufferable     = MPU_ACCESS_NOT_BUFFERABLE;
  HAL_MPU_ConfigRegion(&MPU_InitStruct);

  // Region1 RAM_D2前256KB ETH主缓冲区
  memset(&MPU_InitStruct, 0, sizeof(MPU_Region_InitTypeDef));
  MPU_InitStruct.Enable           = MPU_REGION_ENABLE;
  MPU_InitStruct.Number           = MPU_REGION_NUMBER1;
  MPU_InitStruct.BaseAddress      = 0x30000000;
  MPU_InitStruct.Size             = MPU_REGION_SIZE_256KB;
  MPU_InitStruct.SubRegionDisable = 0x0;
  MPU_InitStruct.TypeExtField     = MPU_TEX_LEVEL0;
  MPU_InitStruct.AccessPermission = MPU_REGION_FULL_ACCESS;
  MPU_InitStruct.DisableExec      = MPU_INSTRUCTION_ACCESS_DISABLE;
  MPU_InitStruct.IsShareable      = MPU_ACCESS_SHAREABLE; // DMA+CPU共享必开
  MPU_InitStruct.IsCacheable      = MPU_ACCESS_NOT_CACHEABLE;
  MPU_InitStruct.IsBufferable     = MPU_ACCESS_BUFFERABLE;
  HAL_MPU_ConfigRegion(&MPU_InitStruct);

  // Region2 RAM_D2后64KB 修复：TEX0，不再是设备内存
  memset(&MPU_InitStruct, 0, sizeof(MPU_Region_InitTypeDef));
  MPU_InitStruct.Enable           = MPU_REGION_ENABLE;
  MPU_InitStruct.Number           = MPU_REGION_NUMBER2;
  MPU_InitStruct.BaseAddress      = 0x30040000;
  MPU_InitStruct.Size             = MPU_REGION_SIZE_64KB;
  MPU_InitStruct.SubRegionDisable = 0x0;
  MPU_InitStruct.TypeExtField     = MPU_TEX_LEVEL0;
  MPU_InitStruct.AccessPermission = MPU_REGION_FULL_ACCESS;
  MPU_InitStruct.DisableExec      = MPU_INSTRUCTION_ACCESS_DISABLE;
  MPU_InitStruct.IsShareable      = MPU_ACCESS_SHAREABLE;
  MPU_InitStruct.IsCacheable      = MPU_ACCESS_NOT_CACHEABLE;
  MPU_InitStruct.IsBufferable     = MPU_ACCESS_BUFFERABLE;
  HAL_MPU_ConfigRegion(&MPU_InitStruct);

  // Region3 BKPSRAM 0x38800000
  memset(&MPU_InitStruct, 0, sizeof(MPU_Region_InitTypeDef));
  MPU_InitStruct.Enable           = MPU_REGION_ENABLE;
  MPU_InitStruct.Number           = MPU_REGION_NUMBER3;
  MPU_InitStruct.BaseAddress      = 0x38800000;
  MPU_InitStruct.Size             = MPU_REGION_SIZE_4KB;
  MPU_InitStruct.TypeExtField     = MPU_TEX_LEVEL0;
  MPU_InitStruct.AccessPermission = MPU_REGION_FULL_ACCESS;
  MPU_InitStruct.DisableExec      = MPU_INSTRUCTION_ACCESS_DISABLE;
  MPU_InitStruct.IsShareable      = MPU_ACCESS_NOT_SHAREABLE;
  MPU_InitStruct.IsCacheable      = MPU_ACCESS_NOT_CACHEABLE;
  MPU_InitStruct.IsBufferable     = MPU_ACCESS_NOT_BUFFERABLE;
  HAL_MPU_ConfigRegion(&MPU_InitStruct);

  // Region4 RAM_D3 0x38000000
  memset(&MPU_InitStruct, 0, sizeof(MPU_Region_InitTypeDef));
  MPU_InitStruct.Enable           = MPU_REGION_ENABLE;
  MPU_InitStruct.Number           = MPU_REGION_NUMBER4;
  MPU_InitStruct.BaseAddress      = 0x38000000;
  MPU_InitStruct.Size             = MPU_REGION_SIZE_64KB;
  MPU_InitStruct.TypeExtField     = MPU_TEX_LEVEL0;
  MPU_InitStruct.AccessPermission = MPU_REGION_FULL_ACCESS;
  MPU_InitStruct.DisableExec      = MPU_INSTRUCTION_ACCESS_DISABLE;
  MPU_InitStruct.IsShareable      = MPU_ACCESS_SHAREABLE;
  MPU_InitStruct.IsCacheable      = MPU_ACCESS_CACHEABLE;
  MPU_InitStruct.IsBufferable     = MPU_ACCESS_BUFFERABLE;
  HAL_MPU_ConfigRegion(&MPU_InitStruct);

  HAL_MPU_Enable(MPU_PRIVILEGED_DEFAULT);
}
void HAL_TIM_PeriodElapsedCallback(TIM_HandleTypeDef *htim)
{
  if (htim->Instance == TIM7)
  {
    HAL_IncTick();
  }
}

void Error_Handler(void)
{
  __disable_irq();
  while (1)
  {
  }
}

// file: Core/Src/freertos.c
/* USER CODE BEGIN Header */
/**
 ******************************************************************************
 * File Name          : freertos.c
 * Description        : Code for freertos applications
 ******************************************************************************
 * @attention
 *
 * Copyright (c) 2026 STMicroelectronics.
 * All rights reserved.
 *
 * This software is licensed under terms that can be found in the LICENSE file
 * in the root directory of this software component.
 * If no LICENSE file comes with this software, it is provided AS-IS.
 *
 ******************************************************************************
 */
/* USER CODE END Header */

#include "FreeRTOS.h"
#include "task.h"
#include "main.h"
#include "cmsis_os.h"

/* USER CODE BEGIN Includes */
#include "FreeRTOS.h"
#include "queue.h"
#include "task.h"
#include "u8g2.h"
#include "oled_u8g2.h"
#include "sht40.h"
#include "rtc_clock.h"
#include "stdio.h"
#include "string.h"
#include "oled_page.h"
#include "oled_task.h"
#include "bsp_fdcan.h"
#include "buzzer.h"
#include "mbif.h"
#include "syncif.h"
#include "shell_port.h"
#include "var_init.h"
#include "flashdb.h"
#include "net_comm_task.h"
#include "iwdg.h"
#include "ADC_collect.h"
#include "main_logic.h"
#include "pid_ctrl.h"
#include "modbus_master.h"
/* USER CODE END Includes */

/* Definitions for defaultTask */
osThreadId_t defaultTaskHandle;
const osThreadAttr_t defaultTask_attributes = {
  .name = "defaultTask",
  .stack_size = 1024 * 6,
  .priority = (osPriority_t) osPriorityNormal,
};

/* USER CODE BEGIN FunctionPrototypes */
/**********************任务*************************************/
osThreadId_t Task_InitTaskHandle;
const osThreadAttr_t Task_InitTask_attributes = {
  .name = "Task_InitTask",
  .stack_size = 1024 * 4,
  .priority = (osPriority_t) osPriorityNormal,
};

osThreadId_t Udp_discover_taskHandle;
const osThreadAttr_t Udp_discover_task_attributes = {
  .name = "Udp_discover_task",
  .stack_size = 1024 * 10,     // 足够跑 UDP + JSON
  .priority = (osPriority_t) osPriorityNormal1,  // 与MODBUS通讯任务相同比普通任务高
};

// TCP 客户端任务配置（TCP 9530）
osThreadId_t Tcp_client_taskHandle;
const osThreadAttr_t Tcp_client_task_attributes = {
  .name = "Tcp_client_task",        // 任务名，唯一不重复
  .stack_size = 2048 * 4,         // 栈大小：4K（足够TCP+JSON解析）
  .priority = (osPriority_t) osPriorityNormal1,  // 优先级同TCP任务
};

// 时间同步任务句柄
osThreadId_t TimeSyncTaskHandle;
const osThreadAttr_t TimeSyncTask_attributes = {
  .name       = "TimeSyncTask",
  .stack_size = 1024 * 4,
  .priority   = osPriorityNormal1,
};

// 看门狗任务句柄
osThreadId_t IWDGTaskHandle;
const osThreadAttr_t IWDGTask_attributes = {
  .name       = "IWDGTask",
  .stack_size = 128 * 4,
  .priority   = osPriorityHigh,
};

osThreadId_t RebootTaskHandle;
const osThreadAttr_t RebootTask_attributes = {
  .name       = "RebootTask",
  .stack_size = 512 * 4,    // 栈大小1024字节，兼容Flash读写、TCP发送、字符串操作
  .priority   = osPriorityNormal1,  // 优先级
};

osThreadId_t TcpSenderTaskHandle;
const osThreadAttr_t TcpSenderTask_attributes = {
    .name       = "TcpSender",
    .stack_size = 1024 * 8,                // 4096 字节，足够容纳 2048 字节栈缓冲区
    .priority   = osPriorityNormal,       // 可根据系统负载调整
};

osThreadId_t ADCTaskHandle;
const osThreadAttr_t ADCTask_attributes = {
  .name       = "ADCTask",
  .stack_size = 1024 * 4,
  .priority   = osPriorityNormal1,
};

osThreadId_t MainLogicTaskHandle;//主逻辑任务句柄
const osThreadAttr_t MainLogicTask_attributes = {
    .name = "MainLogicTask",
    .stack_size = 1024*4,
    .priority = osPriorityNormal1
};

// 压力闭环调速任务
osThreadId_t PressureControlTaskHandle;
const osThreadAttr_t PressureControlTask_attributes = {
    .name = "PressureControlTask",
    .stack_size = 1024 * 4,
    .priority = osPriorityAboveNormal7    // 高于主逻辑
};

// Modbus主机轮询任务
osThreadId_t ModbusMasterTaskHandle;
const osThreadAttr_t ModbusMasterTask_attributes = {
    .name = "ModbusMasterTask",
    .stack_size = 1024 * 4,
    .priority = osPriorityNormal1         // 和主逻辑同级
};

/**********************互斥锁*************************************/
osMutexId_t uart_mutex;//互斥锁，保护UART资源，避免多任务打印冲突
osMutexAttr_t uart_mutex_attr = {
    .name = "uart_mutex",
    .attr_bits = osMutexRecursive, // 支持递归锁，防止printf嵌套死锁
};

osMutexId_t flash_kv_mutex;
osMutexAttr_t flash_kv_mutex_attr = {
    .name = "flash_kv_mutex",
    .attr_bits = osMutexRecursive, // 开启递归，允许同一任务重复获取
};

osMutexId_t udp_pcb_mutex;
osMutexAttr_t udp_pcb_mutex_attr = {
    .name = "udp_pcb_mutex",
    .attr_bits = osMutexRecursive,
};

osMutexId_t tcp_send_mutex;
osMutexAttr_t tcp_send_mutex_attr = {
    .name = "tcp_send_mutex",
    .attr_bits = osMutexRecursive,// 开启递归，允许同一任务重复获取
};

osMutexId_t sys_status_mutex;
const osMutexAttr_t sys_status_mutex_attr = {
    .name = "sys_status_mutex",
    .attr_bits = osMutexRecursive,        // 优先级继承，确保高优先级任务先获取锁
};

void StartUDPDiscoverTask(void *argument);
void StartTCPClientTask(void *argument);
void Task_InitTask(void *argument);
void IWDGTask(void *argument);

uint32_t start =0;
uint32_t Initialization_time = 0;
/* USER CODE END FunctionPrototypes */

void StartDefaultTask(void *argument);

extern void MX_LWIP_Init(void);
void MX_FREERTOS_Init(void); /* (MISRA C 2004 rule 8.1) */

/* USER CODE BEGIN PREPOSTSLEEP */
__weak void PreSleepProcessing(uint32_t ulExpectedIdleTime)
{
  /* place for user code */
}

__weak void PostSleepProcessing(uint32_t ulExpectedIdleTime)
{
  /* place for user code */
}
/* USER CODE END PREPOSTSLEEP */

void MX_FREERTOS_Init(void) {
  /* USER CODE BEGIN Init */
  /*初始化全局变量*/
  var_init();
  fal_init();
  /* USER CODE END Init */

  /* Create the thread(s) */
  /* creation of defaultTask */
  defaultTaskHandle = osThreadNew(StartDefaultTask, NULL, &defaultTask_attributes);

  /* USER CODE BEGIN RTOS_THREADS */
  IWDGTaskHandle = osThreadNew(IWDGTask, NULL, &IWDGTask_attributes);//创建看门狗任务
  uart_mutex = osMutexNew(&uart_mutex_attr);
  flash_kv_mutex = osMutexNew(&flash_kv_mutex_attr);
  udp_pcb_mutex = osMutexNew(&udp_pcb_mutex_attr);
  tcp_send_mutex = osMutexNew(&tcp_send_mutex_attr);
  sys_status_mutex = osMutexNew(&sys_status_mutex_attr);
  MsgQueue_Init();
  /* add threads, ... */
  /* USER CODE END RTOS_THREADS */

}

void StartDefaultTask(void *argument)
{
  /* init code for LWIP */
  MX_LWIP_Init();
  /* USER CODE BEGIN StartDefaultTask */
  GenerateDeviceSNFromUID();
  start = HAL_GetTick();
  LOG("init_net_db total start time: %lu ms", start);
  //—————————————必须放在MX_LWIP_Init();之后———————————————————————
  init_sys_db();//void syncif_task(void *argument)任务里的已经注释掉
  LOG("init_sys_db run time: %lu ms", HAL_GetTick() - start);
  init_net_db();
  LOG("init_net_db total run time: %lu ms", HAL_GetTick() - start);
   init_reboot_db();// 初始化掉电存储数据库，读取上次重启原因
  LOG("init_reboot_db total run time: %lu ms", HAL_GetTick() - start);
  net_config_init();// 读取配网参数（必须放在init_sys_db()之后）
  //——————————————————————————————————————————————————————————————
  OLED_Task_Init();
  //start_buzz_task();
  buzz_contral(BUZZ_LONG);

  start_syncif_task();
  vTaskDelay(1000);
  buzz_contral(BUZZ_SHORT);
  start_mbif_task();
  vTaskDelay(1000);
  buzz_contral(BUZZ_SHORT);
  Task_InitTaskHandle = osThreadNew(Task_InitTask, NULL, &Task_InitTask_attributes);
  /* Infinite loop */
  for (;;)
  {
     vTaskDelay(500);
  }
  /* USER CODE END StartDefaultTask */
}

/* USER CODE BEGIN Application */
void PrintTaskStackAndCount(void)
{
    // 1. 获取当前系统总任务数量
    UBaseType_t total_task_num = uxTaskGetNumberOfTasks();
    LOG("==================== System Task Info ====================");
    LOG("Total running task count: %lu", (unsigned long)total_task_num);
    LOG("----------------------------------------------------------");

    // 2. 逐个打印你创建的所有业务/网络任务最小剩余栈水位
    LOG("1 ,IWDGTask                  min stack left: %lu bytes", uxTaskGetStackHighWaterMark(IWDGTaskHandle));
    LOG("2 ,StartDefaultTask          min stack left: %lu bytes", uxTaskGetStackHighWaterMark(defaultTaskHandle));
    LOG("3 ,OLED_Task_Entry           min stack left: %lu bytes", uxTaskGetStackHighWaterMark(g_oledTaskHandle));
    LOG("4 ,OLED_Msg_Task_Entry       min stack left: %lu bytes", uxTaskGetStackHighWaterMark(OLED_Msg_TaskkHandle));
    LOG("5 ,Buzz_task                 min stack left: %lu bytes", uxTaskGetStackHighWaterMark(Buzz_task_handler));
    LOG("6 ,Syncif_task               min stack left: %lu bytes", uxTaskGetStackHighWaterMark(Syncif_task_handler));
    LOG("7 ,MBif_task                 min stack left: %lu bytes", uxTaskGetStackHighWaterMark(MBif_task_handler));
    LOG("8 ,MainLogicTask             min stack left: %lu bytes", uxTaskGetStackHighWaterMark(MainLogicTaskHandle));
    LOG("9 ,Task_InitTask             min stack left: %lu bytes", uxTaskGetStackHighWaterMark(Task_InitTaskHandle));
    LOG("10,Udp_discover_task         min stack left: %lu bytes", uxTaskGetStackHighWaterMark(Udp_discover_taskHandle));
    LOG("11,Tcp_client_task           min stack left: %lu bytes", uxTaskGetStackHighWaterMark(Tcp_client_taskHandle));
    LOG("14,TimeSyncTask              min stack left: %lu bytes", uxTaskGetStackHighWaterMark(TimeSyncTaskHandle));
    LOG("15,ADCTask                   min stack left: %lu bytes", uxTaskGetStackHighWaterMark(ADCTaskHandle));
    LOG("16,PressureControlTask       min stack left: %lu bytes", uxTaskGetStackHighWaterMark(PressureControlTaskHandle));
    LOG("17,ModbusMasterTask          min stack left: %lu bytes", uxTaskGetStackHighWaterMark(ModbusMasterTaskHandle));
    LOG("18,ethernet_link_thread      min stack left: %lu bytes", uxTaskGetStackHighWaterMark(ethernet_link_threadHandle));
    LOG("19,ethernetif_input          min stack left: %lu bytes", uxTaskGetStackHighWaterMark(ethernetif_inputHandle));
    // LOG("xxx_task                min stack left: %u bytes", uxTaskGetStackHighWaterMark(xxxTaskHandle));

    LOG("----------------------------------------------------------");
    // 3. 打印堆内存使用水位
    size_t heap_free_now = xPortGetFreeHeapSize();//当前系统实时剩余可用堆内存字节数
    size_t heap_free_min = xPortGetMinimumEverFreeHeapSize();//堆内存出现过的最小剩余字节
    LOG("Heap Now Free: %u Bytes | Min Free Heap: %u Bytes", heap_free_now, heap_free_min);
    LOG("==========================================================\r\n");
}

void Task_InitTask(void *argument)
{
  MainLogicTaskHandle = osThreadNew(MainLogicTask, NULL, &MainLogicTask_attributes);
  PressureControlTaskHandle = osThreadNew(PressureControlTask, NULL, &PressureControlTask_attributes);
  ModbusMasterTaskHandle = osThreadNew(ModbusMasterTask, NULL, &ModbusMasterTask_attributes);
  Udp_discover_taskHandle = osThreadNew(Udp_discover_task, NULL, &Udp_discover_task_attributes);
  Tcp_client_taskHandle = osThreadNew(Tcp_client_task, NULL, &Tcp_client_task_attributes);
  TimeSyncTaskHandle = osThreadNew(TimeSyncTask, NULL, &TimeSyncTask_attributes);
  RebootTaskHandle = osThreadNew(vRebootTask, NULL, &RebootTask_attributes);
  TcpSenderTaskHandle = osThreadNew(tcp_sender_task, NULL, &TcpSenderTask_attributes);
  ADCTaskHandle = osThreadNew(ADCTask, NULL, &ADCTask_attributes);
  LOG("init run time: %lu ms", HAL_GetTick() - start);
  Initialization_time = (HAL_GetTick() - start + 10000)/1000; // 预留5秒，确保系统初始化完成
  vTaskDelay(5000);
  for (;;)
  {
    PrintTaskStackAndCount();
    vTaskDelay(50000);

  }
}

void IWDGTask(void *argument)
{
  for (;;)
  {
    HAL_IWDG_Refresh(&hiwdg1); // 循环末尾喂狗
    vTaskDelay(pdMS_TO_TICKS(200));
  }
}

void vApplicationStackOverflowHook(TaskHandle_t xTask, char *pcTaskName)
{
    // 当任务栈溢出时，会自动进入这里
    // pcTaskName 变量就是出问题的任务名字！
    (void)xTask;
    while(1)
    {
        __NOP(); // 死循环，方便调试
    }
}
/* USER CODE END Application */
